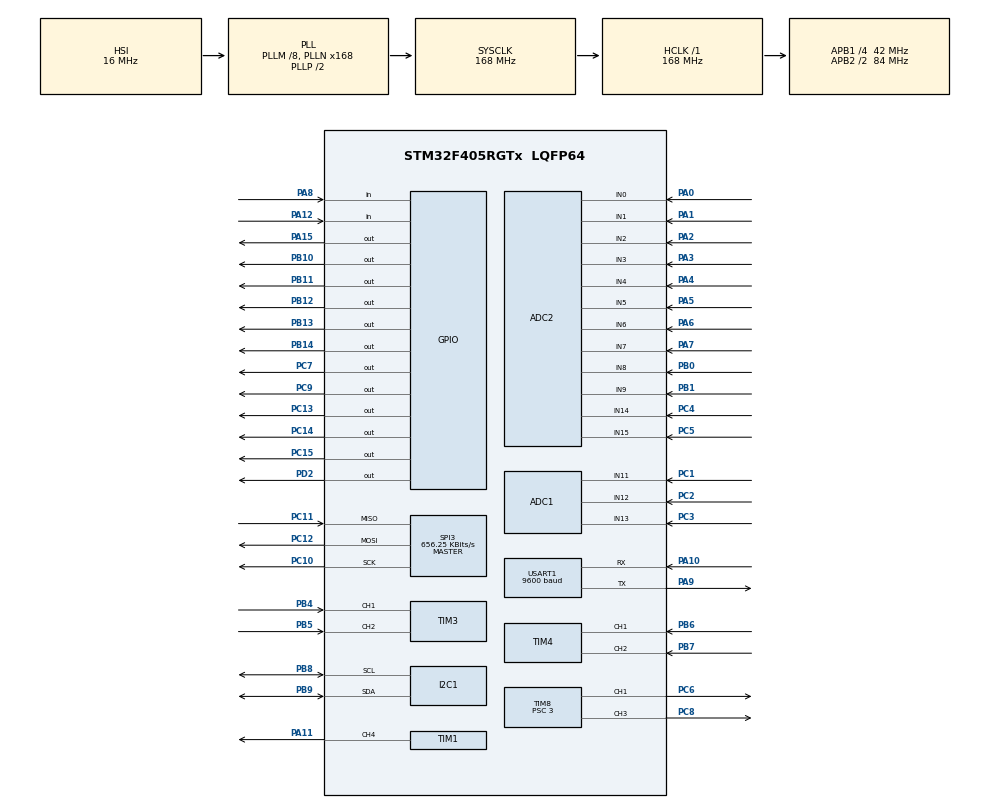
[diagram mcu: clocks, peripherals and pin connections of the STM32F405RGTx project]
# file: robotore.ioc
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ADC1.Channel-0\#ChannelRegularConversion=ADC_CHANNEL_12
ADC1.Channel-1\#ChannelRegularConversion=ADC_CHANNEL_13
ADC1.ClockPrescaler=ADC_CLOCK_SYNC_PCLK_DIV4
ADC1.ContinuousConvMode=ENABLE
ADC1.DMAContinuousRequests=ENABLE
ADC1.InjNumberOfConversion=0
ADC1.NbrOfConversion=2
ADC1.NbrOfConversionFlag=1
ADC1.Rank-0\#ChannelRegularConversion=1
ADC1.Rank-1\#ChannelRegularConversion=2
ADC1.SamplingTime-0\#ChannelRegularConversion=ADC_SAMPLETIME_480CYCLES
ADC1.SamplingTime-1\#ChannelRegularConversion=ADC_SAMPLETIME_480CYCLES
ADC1.ScanConvMode=ENABLE
ADC1.master=1
ADC2.Channel-0\#ChannelRegularConversion=ADC_CHANNEL_0
ADC2.Channel-1\#ChannelRegularConversion=ADC_CHANNEL_1
ADC2.Channel-10\#ChannelRegularConversion=ADC_CHANNEL_14
ADC2.Channel-11\#ChannelRegularConversion=ADC_CHANNEL_15
ADC2.Channel-2\#ChannelRegularConversion=ADC_CHANNEL_2
ADC2.Channel-3\#ChannelRegularConversion=ADC_CHANNEL_3
ADC2.Channel-4\#ChannelRegularConversion=ADC_CHANNEL_4
ADC2.Channel-5\#ChannelRegularConversion=ADC_CHANNEL_5
ADC2.Channel-6\#ChannelRegularConversion=ADC_CHANNEL_6
ADC2.Channel-7\#ChannelRegularConversion=ADC_CHANNEL_7
ADC2.Channel-8\#ChannelRegularConversion=ADC_CHANNEL_8
ADC2.Channel-9\#ChannelRegularConversion=ADC_CHANNEL_9
ADC2.ClockPrescaler=ADC_CLOCK_SYNC_PCLK_DIV4
ADC2.ContinuousConvMode=ENABLE
ADC2.DMAContinuousRequests=ENABLE
ADC2.NbrOfConversion=12
ADC2.NbrOfConversionFlag=1
ADC2.Rank-0\#ChannelRegularConversion=1
ADC2.Rank-1\#ChannelRegularConversion=2
ADC2.Rank-10\#ChannelRegularConversion=11
ADC2.Rank-11\#ChannelRegularConversion=12
ADC2.Rank-2\#ChannelRegularConversion=3
ADC2.Rank-3\#ChannelRegularConversion=4
ADC2.Rank-4\#ChannelRegularConversion=5
ADC2.Rank-5\#ChannelRegularConversion=6
ADC2.Rank-6\#ChannelRegularConversion=7
ADC2.Rank-7\#ChannelRegularConversion=8
ADC2.Rank-8\#ChannelRegularConversion=9
ADC2.Rank-9\#ChannelRegularConversion=10
ADC2.SamplingTime-0\#ChannelRegularConversion=ADC_SAMPLETIME_480CYCLES
ADC2.SamplingTime-1\#ChannelRegularConversion=ADC_SAMPLETIME_480CYCLES
ADC2.SamplingTime-10\#ChannelRegularConversion=ADC_SAMPLETIME_480CYCLES
ADC2.SamplingTime-11\#ChannelRegularConversion=ADC_SAMPLETIME_480CYCLES
ADC2.SamplingTime-2\#ChannelRegularConversion=ADC_SAMPLETIME_480CYCLES
ADC2.SamplingTime-3\#ChannelRegularConversion=ADC_SAMPLETIME_480CYCLES
ADC2.SamplingTime-4\#ChannelRegularConversion=ADC_SAMPLETIME_480CYCLES
ADC2.SamplingTime-5\#ChannelRegularConversion=ADC_SAMPLETIME_480CYCLES
ADC2.SamplingTime-6\#ChannelRegularConversion=ADC_SAMPLETIME_480CYCLES
ADC2.SamplingTime-7\#ChannelRegularConversion=ADC_SAMPLETIME_480CYCLES
ADC2.SamplingTime-8\#ChannelRegularConversion=ADC_SAMPLETIME_480CYCLES
ADC2.SamplingTime-9\#ChannelRegularConversion=ADC_SAMPLETIME_480CYCLES
Dma.ADC1.1.Direction=DMA_PERIPH_TO_MEMORY
Dma.ADC1.1.FIFOMode=DMA_FIFOMODE_DISABLE
Dma.ADC1.1.Instance=DMA2_Stream0
Dma.ADC1.1.MemDataAlignment=DMA_MDATAALIGN_HALFWORD
Dma.ADC1.1.MemInc=DMA_MINC_ENABLE
Dma.ADC1.1.Mode=DMA_CIRCULAR
Dma.ADC1.1.PeriphDataAlignment=DMA_PDATAALIGN_HALFWORD
Dma.ADC1.1.PeriphInc=DMA_PINC_DISABLE
Dma.ADC1.1.Priority=DMA_PRIORITY_LOW
Dma.ADC2.0.Direction=DMA_PERIPH_TO_MEMORY
Dma.ADC2.0.FIFOMode=DMA_FIFOMODE_DISABLE
Dma.ADC2.0.Instance=DMA2_Stream2
Dma.ADC2.0.MemDataAlignment=DMA_MDATAALIGN_HALFWORD
Dma.ADC2.0.MemInc=DMA_MINC_ENABLE
Dma.ADC2.0.Mode=DMA_CIRCULAR
Dma.ADC2.0.PeriphDataAlignment=DMA_PDATAALIGN_HALFWORD
Dma.ADC2.0.PeriphInc=DMA_PINC_DISABLE
Dma.ADC2.0.Priority=DMA_PRIORITY_LOW
Dma.Request0=ADC2
Dma.Request1=ADC1
Mcu.Family=STM32F4
Mcu.Name=STM32F405RGTx
Mcu.Package=LQFP64
NVIC.DMA2_Stream0_IRQn=true\:0\:0\:false\:false\:true\:false\:true
NVIC.DMA2_Stream2_IRQn=true\:0\:0\:false\:false\:true\:false\:true
NVIC.PriorityGroup=NVIC_PRIORITYGROUP_4
NVIC.TIM6_DAC_IRQn=true\:1\:0\:true\:false\:true\:true\:true
NVIC.TIM7_IRQn=true\:0\:0\:false\:false\:true\:true\:true
PA0-WKUP.Signal=ADCx_IN0
PA1.Signal=ADCx_IN1
PA10.Mode=Asynchronous
PA10.Signal=USART1_RX
PA11.Signal=S_TIM1_CH4
PA12.GPIO_PuPd=GPIO_NOPULL
PA12.Signal=GPIO_Input
PA13.Mode=Trace_Asynchronous_SW
PA13.Signal=SYS_JTMS-SWDIO
PA14.Mode=Trace_Asynchronous_SW
PA14.Signal=SYS_JTCK-SWCLK
PA15.Signal=GPIO_Output
PA2.Signal=ADCx_IN2
PA3.Signal=ADCx_IN3
PA4.Signal=ADCx_IN4
PA5.Signal=ADCx_IN5
PA6.Signal=ADCx_IN6
PA7.Signal=ADCx_IN7
PA8.GPIO_PuPd=GPIO_NOPULL
PA8.Signal=GPIO_Input
PA9.Mode=Asynchronous
PA9.Signal=USART1_TX
PB0.Signal=ADCx_IN8
PB1.Signal=ADCx_IN9
PB10.Signal=GPIO_Output
PB11.Signal=GPIO_Output
PB12.Signal=GPIO_Output
PB13.Signal=GPIO_Output
PB14.Signal=GPIO_Output
PB3.Mode=Trace_Asynchronous_SW
PB3.Signal=SYS_JTDO-SWO
PB4.Signal=S_TIM3_CH1
PB5.Signal=S_TIM3_CH2
PB6.Signal=S_TIM4_CH1
PB7.Signal=S_TIM4_CH2
PB8.Mode=I2C
PB8.Signal=I2C1_SCL
PB9.Mode=I2C
PB9.Signal=I2C1_SDA
PC1.Signal=ADCx_IN11
PC10.Mode=Full_Duplex_Master
PC10.Signal=SPI3_SCK
PC11.Mode=Full_Duplex_Master
PC11.Signal=SPI3_MISO
PC12.Mode=Full_Duplex_Master
PC12.Signal=SPI3_MOSI
PC13-ANTI_TAMP.Signal=GPIO_Output
PC14-OSC32_IN.Signal=GPIO_Output
PC15-OSC32_OUT.Signal=GPIO_Output
PC2.Signal=ADCx_IN12
PC3.Signal=ADCx_IN13
PC4.Signal=ADCx_IN14
PC5.Signal=ADCx_IN15
PC6.Signal=S_TIM8_CH1
PC7.Signal=GPIO_Output
PC8.Signal=S_TIM8_CH3
PC9.Signal=GPIO_Output
PD2.Signal=GPIO_Output
PH0-OSC_IN.Mode=HSE-External-Oscillator
PH0-OSC_IN.Signal=RCC_OSC_IN
PH1-OSC_OUT.Mode=HSE-External-Oscillator
PH1-OSC_OUT.Signal=RCC_OSC_OUT
ProjectManager.HeapSize=0x200
ProjectManager.StackSize=0x400
ProjectManager.TargetToolchain=STM32CubeIDE
RCC.48MHZClocksFreq_Value=84000000
RCC.AHBFreq_Value=168000000
RCC.APB1CLKDivider=RCC_HCLK_DIV4
RCC.APB1Freq_Value=42000000
RCC.APB1TimFreq_Value=84000000
RCC.APB2CLKDivider=RCC_HCLK_DIV2
RCC.APB2Freq_Value=84000000
RCC.APB2TimFreq_Value=168000000
RCC.CortexFreq_Value=168000000
RCC.HCLKFreq_Value=168000000
RCC.HSE_VALUE=12500000
RCC.HSI_VALUE=16000000
RCC.LSE_VALUE=32768
RCC.PLLM=8
RCC.PLLN=168
RCC.SYSCLKFreq_VALUE=168000000
RCC.SYSCLKSource=RCC_SYSCLKSOURCE_PLLCLK
RCC.VCOOutputFreq_Value=336000000
SH.ADCx_IN0.0=ADC2_IN0,IN0
SH.ADCx_IN1.0=ADC2_IN1,IN1
SH.ADCx_IN11.0=ADC1_IN11,IN11
SH.ADCx_IN12.0=ADC1_IN12,IN12
SH.ADCx_IN13.0=ADC1_IN13,IN13
SH.ADCx_IN14.0=ADC2_IN14,IN14
SH.ADCx_IN15.0=ADC2_IN15,IN15
SH.ADCx_IN2.0=ADC2_IN2,IN2
SH.ADCx_IN3.0=ADC2_IN3,IN3
SH.ADCx_IN4.0=ADC2_IN4,IN4
SH.ADCx_IN5.0=ADC2_IN5,IN5
SH.ADCx_IN6.0=ADC2_IN6,IN6
SH.ADCx_IN7.0=ADC2_IN7,IN7
SH.ADCx_IN8.0=ADC2_IN8,IN8
SH.ADCx_IN9.0=ADC2_IN9,IN9
SH.S_TIM1_CH4.0=TIM1_CH4,PWM Generation4 CH4
SH.S_TIM3_CH1.0=TIM3_CH1,Encoder_Interface
SH.S_TIM3_CH2.0=TIM3_CH2,Encoder_Interface
SH.S_TIM4_CH1.0=TIM4_CH1,Encoder_Interface
SH.S_TIM4_CH2.0=TIM4_CH2,Encoder_Interface
SH.S_TIM8_CH1.0=TIM8_CH1,PWM Generation1 CH1
SH.S_TIM8_CH3.0=TIM8_CH3,PWM Generation3 CH3
SPI3.BaudRatePrescaler=SPI_BAUDRATEPRESCALER_64
SPI3.CalculateBaudRate=656.25 KBits/s
SPI3.Direction=SPI_DIRECTION_2LINES
SPI3.Mode=SPI_MODE_MASTER
SPI3.VirtualType=VM_MASTER
TIM1.Channel-PWM\ Generation4\ CH4=TIM_CHANNEL_4
TIM1.Period=839
TIM1.Prescaler=0
TIM6.Period=999
TIM6.Prescaler=83
TIM7.Period=99
TIM7.Prescaler=83
TIM8.Channel-PWM\ Generation1\ CH1=TIM_CHANNEL_1
TIM8.Channel-PWM\ Generation3\ CH3=TIM_CHANNEL_3
TIM8.Period=1679
TIM8.Prescaler=3
USART1.BaudRate=9600
USART1.VirtualMode=VM_ASYNC
VP_TIM6_VS_ClockSourceINT.Mode=Enable_Timer
VP_TIM7_VS_ClockSourceINT.Mode=Enable_Timer
board=custom

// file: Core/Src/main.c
/* USER CODE BEGIN Header */
/**
  ******************************************************************************
  * @file           : main.c
  * @brief          : Main program body
  ******************************************************************************
  * @attention
  *
  * <h2><center>&copy; Copyright (c) 2022 STMicroelectronics.
  * All rights reserved.</center></h2>
  *
  * This software component is licensed by ST under BSD 3-Clause license,
  * the "License"; You may not use this file except in compliance with the
  * License. You may obtain a copy of the License at:
  *                        opensource.org/licenses/BSD-3-Clause
  *
  ******************************************************************************
  */
/* USER CODE END Header */
#include "main.h"

/* USER CODE BEGIN Includes */
#include "LED.h"
#include "switch.h"
#include "LineSensor.h"
#include "sideSensor.h"
#include "Encoder.h"
#include "motor.h"
#include "VelocityCtrl.h"
#include "MPU6500.h"
#include "IMU.h"
#include "Logger.h"
#include "AngleCtrl.h"
/* USER CODE END Includes */

/* USER CODE BEGIN PM */

uint16_t cnt,cnt2 = 0;
uint16_t sw,sw2 = 0;
uint16_t mode_selector;
uint16_t flag = 0;
uint16_t soiya = 0;
float enc_cnt;

/* USER CODE END PM */

ADC_HandleTypeDef hadc1;
ADC_HandleTypeDef hadc2;
DMA_HandleTypeDef hdma_adc1;
DMA_HandleTypeDef hdma_adc2;

I2C_HandleTypeDef hi2c1;

SPI_HandleTypeDef hspi3;

TIM_HandleTypeDef htim1;
TIM_HandleTypeDef htim3;
TIM_HandleTypeDef htim4;
TIM_HandleTypeDef htim6;
TIM_HandleTypeDef htim7;
TIM_HandleTypeDef htim8;

UART_HandleTypeDef huart1;

/* USER CODE BEGIN PV */

uint32_t timer, timer1, timer2;

/* USER CODE END PV */

void SystemClock_Config(void);
static void MX_GPIO_Init(void);
static void MX_DMA_Init(void);
static void MX_TIM1_Init(void);
static void MX_TIM3_Init(void);
static void MX_TIM4_Init(void);
static void MX_TIM8_Init(void);
static void MX_ADC1_Init(void);
static void MX_I2C1_Init(void);
static void MX_SPI3_Init(void);
static void MX_USART1_UART_Init(void);
static void MX_TIM6_Init(void);
static void MX_TIM7_Init(void);
static void MX_ADC2_Init(void);
/* USER CODE BEGIN PFP */

#ifdef __GNUC__
	#define PUTCHAR_PROTOTYPE int __io_putchar(int ch)
#else
	#define PUTCHAR_PROTOTYPE int fputc(int ch, FILE *f)
#endif /*__GNUC__*/

PUTCHAR_PROTOTYPE{
	HAL_UART_Transmit(&huart1, (uint8_t*)&ch, 1, 0xFFFF);
	return ch;
}

/* USER CODE END PFP */

/* USER CODE BEGIN 0 */

void HAL_TIM_PeriodElapsedCallback(TIM_HandleTypeDef *htim)
{
   if(htim->Instance == TIM6){//1ms
      timer++;
      timer2++;

      updateEncoderCnt();
      updateIMUValue();
      updateAnalogSensor();

      calculateLineFollowingTermFlip();
      calculateVelocityControlFlip();
      calculateAngleControlFlip();
      lineTraceFlip();
      runningFlip();
      motorCtrlFlip();
      suctionmotorCtrlFlip();
      updateSideSensorStatus();

      checkCourseOut();

      //resetEncoderCnt();
   }

   if(htim->Instance == TIM7){//0.1ms
	   timer1++;

	   storeAnalogSensorBuffer();

   }
}

void init(void)
{
	  initADC();
	  initEncoder();
	  initLog();
	  initGyro();

	  HAL_TIM_Base_Start_IT(&htim6);
	  HAL_TIM_Base_Start_IT(&htim7);

	  initMotor();

	  setLED('R');

	  sensorCalibration();

	  HAL_Delay(1000);

}
/* USER CODE END 0 */

int main(void)
{

  /* MCU Configuration--------------------------------------------------------*/

  /* Reset of all peripherals, Initializes the Flash interface and the Systick. */
  HAL_Init();

  /* Configure the system clock */
  SystemClock_Config();

  /* Initialize all configured peripherals */
  MX_GPIO_Init();
  MX_DMA_Init();
  MX_TIM1_Init();
  MX_TIM3_Init();
  MX_TIM4_Init();
  MX_TIM8_Init();
  MX_ADC1_Init();
  MX_I2C1_Init();
  MX_SPI3_Init();
  MX_USART1_UART_Init();
  MX_TIM6_Init();
  MX_TIM7_Init();
  MX_ADC2_Init();
  /* USER CODE BEGIN 2 */

  init();

  bool running_flag = false;

  /* USER CODE END 2 */

  /* Infinite loop */
  /* USER CODE BEGIN WHILE */
  while (1)
  {
	  if(getSwitchStatus('L') == 1 && sw == 0){     //D5         sw3チャタリング防止
		  timer = 0;
		  sw = 1;
	  }
	  if(getSwitchStatus('L') == 1 && timer > 20 && sw == 1){
		  sw = 2;
	  }
	  if(timer > 40 && sw == 1){
		  sw = 0;
	  }
	  if(getSwitchStatus('L') == 0 && sw == 2){
		  //mode_selector++;
		  soiya++;
		  sw = 0;
	  }

	  if(getSwitchStatus('R') == 1 && sw2 == 0){     //D4         sw2チャタリング防止
	  	  timer = 0;
	  	  sw2 = 1;
	  }
	  if(getSwitchStatus('R') == 1 && timer > 20 && sw2 == 1){
	  	  sw2 = 2;
	  }
	  if(timer > 40 && sw2 == 1){
	  	  sw2 = 0;
	  }
	  if(getSwitchStatus('R') == 0 && sw2 == 2){
	  	  cnt++;
	  	  sw2 = 0;
	  }

	  if(cnt >= 2){
		  cnt = 0;
	  }

	  if(cnt >= 1){
		  HAL_Delay(1000);
		  running_flag = true;
		  timer2 = 0;
		  cnt = 0;
		  //setLED2('Y');
	  }

	  /*
	  if(running_flag == true){
		  //setVelocityRange(0, 0);
		  //startLineTrace();

		  setTargetVelocity(0.7);
		  //startVelocityControl();

		  running();
		  //setMotor(500, 500);
		  //while(1);
	  }*/

	  if(running_flag == false){
		  stopLineTrace();
		  stopVelocityControl();
	  }

	  if(getgoalStatus() == true){//goal判定
		  running_flag = false;
		  cnt = 0;
		  setsuctionMotor(0);
		  //getgoalStatus() = false;
	  }

	  /*if(isTargetDistance(10) == true){
		  cnt2++;
		  clearDistance10mm();
	  }*/

	  if(soiya >= 14){
		  soiya = 0;
	  }

	  switch(soiya){

			  case 0:
				  setLED('W');
				  setLED2('R');
				  //printf("0\r\n");

				  if(running_flag == true){

				  		  setsuctionMotor(400);
				  }

				  break;

			  case 1:
				  setLED('G');
				  setLED2('G');

				  if(running_flag == true){
						  //setVelocityRange(0, 0);
						  //startLineTrace();

					      clearspeedcount();

					      //setVelocityRange(0, 0);
						  setTargetVelocity(0.0);
						  //startVelocityControl();

						  setsuctionMotor(400);

						  HAL_Delay(1500);

						  running();
				  }

				  break;

			  case 2:
				  setLED('Y');
				  setLED2('R');

				  if(running_flag == true){
						  //startLineTrace();

					      clearspeedcount();

					      IMU_average();

					      setRunMode(1);

					      setVelocityRange(1.3, 1.3);

						  setsuctionMotor(400);

						  HAL_Delay(1000);

						  running();
				  }

				  break;

			  case 3:
				  setLED('Y');
				  setLED2('G');

				  if(running_flag == true){
						  //startLineTrace();

						  clearspeedcount();

						  IMU_average();

						  setRunMode(1);
						  setrunmode(1);

						  setVelocityRange(1.5, 1.5);

						  setsuctionMotor(300);

						  HAL_Delay(1000);

						  running();
				  }

				  break;

			  case 4:
				  setLED('C');
				  setLED2('R');

				  if(running_flag == true){
						  //setVelocityRange(0, 0);
						  //startLineTrace();

					      clearspeedcount();

					      setRunMode(2);
					      setrunmode(2);

					      setVelocityRange(1.5, 3.0);
					      setAccDec(6, 2);
					      setStraightRadius(1000); //Do Not Change

						  setsuctionMotor(400);

						  HAL_Delay(1000);

						  running();
				  }

				  break;

			  case 5:
				  setLED('C');
				  setLED2('G');

				  if(running_flag == true){
						  //setVelocityRange(0, 0);
						  //startLineTrace();

						  clearspeedcount();

						  setRunMode(2);
						  setrunmode(2);

						  setVelocityRange(1.8, 5.0);//changeパラメータ
						  setAccDec(7, 3);
						  setStraightRadius(1000); //Do Not Change

						  setsuctionMotor(400);

						  HAL_Delay(1000);

						  running();
				  }

				  break;

			  case 6:
				  setLED('C');
				  setLED2('B');

				  if(running_flag == true){
						  //setVelocityRange(0, 0);
						  //startLineTrace();

						  clearspeedcount();

						  setRunMode(2);
						  setrunmode(2);

						  setVelocityRange(1.8, 5.5);
						  setAccDec(8, 3);
						  setStraightRadius(1000); //Do Not Change

						  setsuctionMotor(400);

						  HAL_Delay(1000);

						  running();
				  }

				  break;

			  case 7:
				  setLED('C');
				  setLED2('W');

				  if(running_flag == true){
						  //setVelocityRange(0, 0);
						  //startLineTrace();

						  clearspeedcount();

						  setRunMode(2);
						  setrunmode(2);

						  setVelocityRange(2.0, 6.0);
						  setAccDec(6, 3);
						  setStraightRadius(1000); //Do Not Change

						  setsuctionMotor(400);

						  HAL_Delay(1000);

						  running();
				  }

				  break;

			  case 8:
				  setLED('C');
				  setLED2('Y');

				  if(running_flag == true){
						  //setVelocityRange(0, 0);
						  //startLineTrace();

						  clearspeedcount();

						  setRunMode(2);
						  setrunmode(2);

						  setVelocityRange(2.0, 6.0);
						  setAccDec(10, 3);
						  setStraightRadius(1000); //Do Not Change

						  setsuctionMotor(400);

						  HAL_Delay(1000);

						  running();
				  }

			  	  break;

			  case 9:
				  setLED('C');
				  setLED2('X');

				  if(running_flag == true){
						  //setVelocityRange(0, 0);
						  //startLineTrace();

						  clearspeedcount();

						  setRunMode(3);
						  setrunmode(2);

						  setVelocityRange(2.0, 6.0);
						  setAccDec(10, 4);
						  setStraightRadius(1000); //Do Not Change

						  setsuctionMotor(400);

						  HAL_Delay(1000);

						  running();
				  }

				  break;

			  case 10:
				  setLED('C');
				  setLED2('V');

				  if(running_flag == true){
						  //startLineTrace();

						  clearspeedcount();

						  setRunMode(2);
						  setrunmode(2);

						  setVelocityRange(2.1, 6.0);
						  setAccDec(6, 2);
						  setStraightRadius(1000); //Do Not Change

						  setsuctionMotor(400);

						  HAL_Delay(1000);

						  running();
				  }

				  break;

			  case 11:
				  setLED('C');
				  setLED2('T');

				  if(running_flag == true){
						  //startLineTrace();

						  clearspeedcount();

						  setRunMode(2);
						  setrunmode(2);

						  setVelocityRange(2.2, 6.0);
						  setAccDec(6, 3);
						  setStraightRadius(1000); //Do Not Change

						  setsuctionMotor(400);

						  HAL_Delay(1000);

						  running();
				  }

				  break;

			  case 12:
				  setLED('C');
				  setLED2('A');

				  if(running_flag == true){
						  //startLineTrace();

						  clearspeedcount();

						  setRunMode(2);
						  setrunmode(2);

						  setVelocityRange(2.3, 7.0);
						  setAccDec(7, 4);
						  setStraightRadius(1000); //Do Not Change

						  setsuctionMotor(400);

						  HAL_Delay(1000);

						  running();
				  }

				  break;

			  case 13:
				  setLED('M');
				  setLED2('A');
				  //printf("6\r\n");

				  if(running_flag == true){
					  loadDistance();
					  loadTheta();
					  loadCross();
					  loadSide();
					  loadDebug();

					  printf("Distance, Theta\r\n");
					  for(uint16_t i = 0; i < getDistanceLogSize(); i++){
						 printf("%f, %f\r\n", getDistanceLog(i), getThetaLog(i));
					  }

					  /*
					  printf("Cross\r\n");
					  for(uint16_t i = 0; i < getCrossLogSize(); i++){
						 printf("%f\r\n", getCrossLog(i));
					  }*/

					  /*
					  printf("Side\r\n");
					  for(uint16_t i = 0; i < getSideLogSize(); i++){
						 printf("%f\r\n", getSideLog(i));
					  }*/

					  /*
					  printf("TargetVelocity, CurrentVelocity\r\n");
					  uint16_t size = getDebugLogSize();
					  for(uint16_t i = 0; i < size; i = i+2){
						 printf("%f, %f\r\n", getDebugLog(i), getDebugLog(i + 1));
					  }*/
					  soiya = 0;

					  printf("9999, 9999\r\n");
				  }

				  break;

			  default:
				  break;
	  }

    /* USER CODE END WHILE */

  }
}

void SystemClock_Config(void)
{
  RCC_OscInitTypeDef RCC_OscInitStruct = {0};
  RCC_ClkInitTypeDef RCC_ClkInitStruct = {0};

  /** Configure the main internal regulator output voltage
  */
  __HAL_RCC_PWR_CLK_ENABLE();
  __HAL_PWR_VOLTAGESCALING_CONFIG(PWR_REGULATOR_VOLTAGE_SCALE1);
  /** Initializes the RCC Oscillators according to the specified parameters
  * in the RCC_OscInitTypeDef structure.
  */
  RCC_OscInitStruct.OscillatorType = RCC_OSCILLATORTYPE_HSI;
  RCC_OscInitStruct.HSIState = RCC_HSI_ON;
  RCC_OscInitStruct.HSICalibrationValue = RCC_HSICALIBRATION_DEFAULT;
  RCC_OscInitStruct.PLL.PLLState = RCC_PLL_ON;
  RCC_OscInitStruct.PLL.PLLSource = RCC_PLLSOURCE_HSI;
  RCC_OscInitStruct.PLL.PLLM = 8;
  RCC_OscInitStruct.PLL.PLLN = 168;
  RCC_OscInitStruct.PLL.PLLP = RCC_PLLP_DIV2;
  RCC_OscInitStruct.PLL.PLLQ = 4;
  if (HAL_RCC_OscConfig(&RCC_OscInitStruct) != HAL_OK)
  {
    Error_Handler();
  }
  /** Initializes the CPU, AHB and APB buses clocks
  */
  RCC_ClkInitStruct.ClockType = RCC_CLOCKTYPE_HCLK|RCC_CLOCKTYPE_SYSCLK
                              |RCC_CLOCKTYPE_PCLK1|RCC_CLOCKTYPE_PCLK2;
  RCC_ClkInitStruct.SYSCLKSource = RCC_SYSCLKSOURCE_PLLCLK;
  RCC_ClkInitStruct.AHBCLKDivider = RCC_SYSCLK_DIV1;
  RCC_ClkInitStruct.APB1CLKDivider = RCC_HCLK_DIV4;
  RCC_ClkInitStruct.APB2CLKDivider = RCC_HCLK_DIV2;

  if (HAL_RCC_ClockConfig(&RCC_ClkInitStruct, FLASH_LATENCY_5) != HAL_OK)
  {
    Error_Handler();
  }
}

static void MX_ADC1_Init(void)
{

  ADC_ChannelConfTypeDef sConfig = {0};

  /** Configure the global features of the ADC (Clock, Resolution, Data Alignment and number of conversion)
  */
  hadc1.Instance = ADC1;
  hadc1.Init.ClockPrescaler = ADC_CLOCK_SYNC_PCLK_DIV4;
  hadc1.Init.Resolution = ADC_RESOLUTION_12B;
  hadc1.Init.ScanConvMode = ENABLE;
  hadc1.Init.ContinuousConvMode = ENABLE;
  hadc1.Init.DiscontinuousConvMode = DISABLE;
  hadc1.Init.ExternalTrigConvEdge = ADC_EXTERNALTRIGCONVEDGE_NONE;
  hadc1.Init.ExternalTrigConv = ADC_SOFTWARE_START;
  hadc1.Init.DataAlign = ADC_DATAALIGN_RIGHT;
  hadc1.Init.NbrOfConversion = 2;
  hadc1.Init.DMAContinuousRequests = ENABLE;
  hadc1.Init.EOCSelection = ADC_EOC_SINGLE_CONV;
  if (HAL_ADC_Init(&hadc1) != HAL_OK)
  {
    Error_Handler();
  }
  /** Configure for the selected ADC regular channel its corresponding rank in the sequencer and its sample time.
  */
  sConfig.Channel = ADC_CHANNEL_12;
  sConfig.Rank = 1;
  sConfig.SamplingTime = ADC_SAMPLETIME_480CYCLES;
  if (HAL_ADC_ConfigChannel(&hadc1, &sConfig) != HAL_OK)
  {
    Error_Handler();
  }
  /** Configure for the selected ADC regular channel its corresponding rank in the sequencer and its sample time.
  */
  sConfig.Channel = ADC_CHANNEL_13;
  sConfig.Rank = 2;
  if (HAL_ADC_ConfigChannel(&hadc1, &sConfig) != HAL_OK)
  {
    Error_Handler();
  }

}

static void MX_ADC2_Init(void)
{

  ADC_ChannelConfTypeDef sConfig = {0};

  /** Configure the global features of the ADC (Clock, Resolution, Data Alignment and number of conversion)
  */
  hadc2.Instance = ADC2;
  hadc2.Init.ClockPrescaler = ADC_CLOCK_SYNC_PCLK_DIV4;
  hadc2.Init.Resolution = ADC_RESOLUTION_12B;
  hadc2.Init.ScanConvMode = ENABLE;
  hadc2.Init.ContinuousConvMode = ENABLE;
  hadc2.Init.DiscontinuousConvMode = DISABLE;
  hadc2.Init.ExternalTrigConvEdge = ADC_EXTERNALTRIGCONVEDGE_NONE;
  hadc2.Init.ExternalTrigConv = ADC_SOFTWARE_START;
  hadc2.Init.DataAlign = ADC_DATAALIGN_RIGHT;
  hadc2.Init.NbrOfConversion = 12;
  hadc2.Init.DMAContinuousRequests = ENABLE;
  hadc2.Init.EOCSelection = ADC_EOC_SINGLE_CONV;
  if (HAL_ADC_Init(&hadc2) != HAL_OK)
  {
    Error_Handler();
  }
  /** Configure for the selected ADC regular channel its corresponding rank in the sequencer and its sample time.
  */
  sConfig.Channel = ADC_CHANNEL_0;
  sConfig.Rank = 1;
  sConfig.SamplingTime = ADC_SAMPLETIME_480CYCLES;
  if (HAL_ADC_ConfigChannel(&hadc2, &sConfig) != HAL_OK)
  {
    Error_Handler();
  }
  /** Configure for the selected ADC regular channel its corresponding rank in the sequencer and its sample time.
  */
  sConfig.Channel = ADC_CHANNEL_1;
  sConfig.Rank = 2;
  if (HAL_ADC_ConfigChannel(&hadc2, &sConfig) != HAL_OK)
  {
    Error_Handler();
  }
  /** Configure for the selected ADC regular channel its corresponding rank in the sequencer and its sample time.
  */
  sConfig.Channel = ADC_CHANNEL_2;
  sConfig.Rank = 3;
  if (HAL_ADC_ConfigChannel(&hadc2, &sConfig) != HAL_OK)
  {
    Error_Handler();
  }
  /** Configure for the selected ADC regular channel its corresponding rank in the sequencer and its sample time.
  */
  sConfig.Channel = ADC_CHANNEL_3;
  sConfig.Rank = 4;
  if (HAL_ADC_ConfigChannel(&hadc2, &sConfig) != HAL_OK)
  {
    Error_Handler();
  }
  /** Configure for the selected ADC regular channel its corresponding rank in the sequencer and its sample time.
  */
  sConfig.Channel = ADC_CHANNEL_4;
  sConfig.Rank = 5;
  if (HAL_ADC_ConfigChannel(&hadc2, &sConfig) != HAL_OK)
  {
    Error_Handler();
  }
  /** Configure for the selected ADC regular channel its corresponding rank in the sequencer and its sample time.
  */
  sConfig.Channel = ADC_CHANNEL_5;
  sConfig.Rank = 6;
  if (HAL_ADC_ConfigChannel(&hadc2, &sConfig) != HAL_OK)
  {
    Error_Handler();
  }
  /** Configure for the selected ADC regular channel its corresponding rank in the sequencer and its sample time.
  */
  sConfig.Channel = ADC_CHANNEL_6;
  sConfig.Rank = 7;
  if (HAL_ADC_ConfigChannel(&hadc2, &sConfig) != HAL_OK)
  {
    Error_Handler();
  }
  /** Configure for the selected ADC regular channel its corresponding rank in the sequencer and its sample time.
  */
  sConfig.Channel = ADC_CHANNEL_7;
  sConfig.Rank = 8;
  if (HAL_ADC_ConfigChannel(&hadc2, &sConfig) != HAL_OK)
  {
    Error_Handler();
  }
  /** Configure for the selected ADC regular channel its corresponding rank in the sequencer and its sample time.
  */
  sConfig.Channel = ADC_CHANNEL_8;
  sConfig.Rank = 9;
  if (HAL_ADC_ConfigChannel(&hadc2, &sConfig) != HAL_OK)
  {
    Error_Handler();
  }
  /** Configure for the selected ADC regular channel its corresponding rank in the sequencer and its sample time.
  */
  sConfig.Channel = ADC_CHANNEL_9;
  sConfig.Rank = 10;
  if (HAL_ADC_ConfigChannel(&hadc2, &sConfig) != HAL_OK)
  {
    Error_Handler();
  }
  /** Configure for the selected ADC regular channel its corresponding rank in the sequencer and its sample time.
  */
  sConfig.Channel = ADC_CHANNEL_14;
  sConfig.Rank = 11;
  if (HAL_ADC_ConfigChannel(&hadc2, &sConfig) != HAL_OK)
  {
    Error_Handler();
  }
  /** Configure for the selected ADC regular channel its corresponding rank in the sequencer and its sample time.
  */
  sConfig.Channel = ADC_CHANNEL_15;
  sConfig.Rank = 12;
  if (HAL_ADC_ConfigChannel(&hadc2, &sConfig) != HAL_OK)
  {
    Error_Handler();
  }

}

static void MX_I2C1_Init(void)
{

  hi2c1.Instance = I2C1;
  hi2c1.Init.ClockSpeed = 100000;
  hi2c1.Init.DutyCycle = I2C_DUTYCYCLE_2;
  hi2c1.Init.OwnAddress1 = 0;
  hi2c1.Init.AddressingMode = I2C_ADDRESSINGMODE_7BIT;
  hi2c1.Init.DualAddressMode = I2C_DUALADDRESS_DISABLE;
  hi2c1.Init.OwnAddress2 = 0;
  hi2c1.Init.GeneralCallMode = I2C_GENERALCALL_DISABLE;
  hi2c1.Init.NoStretchMode = I2C_NOSTRETCH_DISABLE;
  if (HAL_I2C_Init(&hi2c1) != HAL_OK)
  {
    Error_Handler();
  }

}

static void MX_SPI3_Init(void)
{

  /* SPI3 parameter configuration*/
  hspi3.Instance = SPI3;
  hspi3.Init.Mode = SPI_MODE_MASTER;
  hspi3.Init.Direction = SPI_DIRECTION_2LINES;
  hspi3.Init.DataSize = SPI_DATASIZE_8BIT;
  hspi3.Init.CLKPolarity = SPI_POLARITY_LOW;
  hspi3.Init.CLKPhase = SPI_PHASE_1EDGE;
  hspi3.Init.NSS = SPI_NSS_SOFT;
  hspi3.Init.BaudRatePrescaler = SPI_BAUDRATEPRESCALER_64;
  hspi3.Init.FirstBit = SPI_FIRSTBIT_MSB;
  hspi3.Init.TIMode = SPI_TIMODE_DISABLE;
  hspi3.Init.CRCCalculation = SPI_CRCCALCULATION_DISABLE;
  hspi3.Init.CRCPolynomial = 10;
  if (HAL_SPI_Init(&hspi3) != HAL_OK)
  {
    Error_Handler();
  }

}

static void MX_TIM1_Init(void)
{

  TIM_MasterConfigTypeDef sMasterConfig = {0};
  TIM_OC_InitTypeDef sConfigOC = {0};
  TIM_BreakDeadTimeConfigTypeDef sBreakDeadTimeConfig = {0};

  htim1.Instance = TIM1;
  htim1.Init.Prescaler = 0;
  htim1.Init.CounterMode = TIM_COUNTERMODE_UP;
  htim1.Init.Period = 839;
  htim1.Init.ClockDivision = TIM_CLOCKDIVISION_DIV1;
  htim1.Init.RepetitionCounter = 0;
  htim1.Init.AutoReloadPreload = TIM_AUTORELOAD_PRELOAD_DISABLE;
  if (HAL_TIM_PWM_Init(&htim1) != HAL_OK)
  {
    Error_Handler();
  }
  sMasterConfig.MasterOutputTrigger = TIM_TRGO_RESET;
  sMasterConfig.MasterSlaveMode = TIM_MASTERSLAVEMODE_DISABLE;
  if (HAL_TIMEx_MasterConfigSynchronization(&htim1, &sMasterConfig) != HAL_OK)
  {
    Error_Handler();
  }
  sConfigOC.OCMode = TIM_OCMODE_PWM1;
  sConfigOC.Pulse = 0;
  sConfigOC.OCPolarity = TIM_OCPOLARITY_HIGH;
  sConfigOC.OCFastMode = TIM_OCFAST_DISABLE;
  sConfigOC.OCIdleState = TIM_OCIDLESTATE_RESET;
  sConfigOC.OCNIdleState = TIM_OCNIDLESTATE_RESET;
  if (HAL_TIM_PWM_ConfigChannel(&htim1, &sConfigOC, TIM_CHANNEL_4) != HAL_OK)
  {
    Error_Handler();
  }
  sBreakDeadTimeConfig.OffStateRunMode = TIM_OSSR_DISABLE;
  sBreakDeadTimeConfig.OffStateIDLEMode = TIM_OSSI_DISABLE;
  sBreakDeadTimeConfig.LockLevel = TIM_LOCKLEVEL_OFF;
  sBreakDeadTimeConfig.DeadTime = 0;
  sBreakDeadTimeConfig.BreakState = TIM_BREAK_DISABLE;
  sBreakDeadTimeConfig.BreakPolarity = TIM_BREAKPOLARITY_HIGH;
  sBreakDeadTimeConfig.AutomaticOutput = TIM_AUTOMATICOUTPUT_DISABLE;
  if (HAL_TIMEx_ConfigBreakDeadTime(&htim1, &sBreakDeadTimeConfig) != HAL_OK)
  {
    Error_Handler();
  }
  HAL_TIM_MspPostInit(&htim1);

}

static void MX_TIM3_Init(void)
{

  TIM_Encoder_InitTypeDef sConfig = {0};
  TIM_MasterConfigTypeDef sMasterConfig = {0};

  htim3.Instance = TIM3;
  htim3.Init.Prescaler = 0;
  htim3.Init.CounterMode = TIM_COUNTERMODE_UP;
  htim3.Init.Period = 65535;
  htim3.Init.ClockDivision = TIM_CLOCKDIVISION_DIV1;
  htim3.Init.AutoReloadPreload = TIM_AUTORELOAD_PRELOAD_DISABLE;
  sConfig.EncoderMode = TIM_ENCODERMODE_TI1;
  sConfig.IC1Polarity = TIM_ICPOLARITY_RISING;
  sConfig.IC1Selection = TIM_ICSELECTION_DIRECTTI;
  sConfig.IC1Prescaler = TIM_ICPSC_DIV1;
  sConfig.IC1Filter = 0;
  sConfig.IC2Polarity = TIM_ICPOLARITY_RISING;
  sConfig.IC2Selection = TIM_ICSELECTION_DIRECTTI;
  sConfig.IC2Prescaler = TIM_ICPSC_DIV1;
  sConfig.IC2Filter = 0;
  if (HAL_TIM_Encoder_Init(&htim3, &sConfig) != HAL_OK)
  {
    Error_Handler();
  }
  sMasterConfig.MasterOutputTrigger = TIM_TRGO_RESET;
  sMasterConfig.MasterSlaveMode = TIM_MASTERSLAVEMODE_DISABLE;
  if (HAL_TIMEx_MasterConfigSynchronization(&htim3, &sMasterConfig) != HAL_OK)
  {
    Error_Handler();
  }

}

static void MX_TIM4_Init(void)
{

  TIM_Encoder_InitTypeDef sConfig = {0};
  TIM_MasterConfigTypeDef sMasterConfig = {0};

  htim4.Instance = TIM4;
  htim4.Init.Prescaler = 0;
  htim4.Init.CounterMode = TIM_COUNTERMODE_UP;
  htim4.Init.Period = 65535;
  htim4.Init.ClockDivision = TIM_CLOCKDIVISION_DIV1;
  htim4.Init.AutoReloadPreload = TIM_AUTORELOAD_PRELOAD_DISABLE;
  sConfig.EncoderMode = TIM_ENCODERMODE_TI1;
  sConfig.IC1Polarity = TIM_ICPOLARITY_RISING;
  sConfig.IC1Selection = TIM_ICSELECTION_DIRECTTI;
  sConfig.IC1Prescaler = TIM_ICPSC_DIV1;
  sConfig.IC1Filter = 0;
  sConfig.IC2Polarity = TIM_ICPOLARITY_RISING;
  sConfig.IC2Selection = TIM_ICSELECTION_DIRECTTI;
  sConfig.IC2Prescaler = TIM_ICPSC_DIV1;
  sConfig.IC2Filter = 0;
  if (HAL_TIM_Encoder_Init(&htim4, &sConfig) != HAL_OK)
  {
    Error_Handler();
  }
  sMasterConfig.MasterOutputTrigger = TIM_TRGO_RESET;
  sMasterConfig.MasterSlaveMode = TIM_MASTERSLAVEMODE_DISABLE;
  if (HAL_TIMEx_MasterConfigSynchronization(&htim4, &sMasterConfig) != HAL_OK)
  {
    Error_Handler();
  }

}

static void MX_TIM6_Init(void)
{

  TIM_MasterConfigTypeDef sMasterConfig = {0};

  htim6.Instance = TIM6;
  htim6.Init.Prescaler = 83;
  htim6.Init.CounterMode = TIM_COUNTERMODE_UP;
  htim6.Init.Period = 999;
  htim6.Init.AutoReloadPreload = TIM_AUTORELOAD_PRELOAD_DISABLE;
  if (HAL_TIM_Base_Init(&htim6) != HAL_OK)
  {
    Error_Handler();
  }
  sMasterConfig.MasterOutputTrigger = TIM_TRGO_RESET;
  sMasterConfig.MasterSlaveMode = TIM_MASTERSLAVEMODE_DISABLE;
  if (HAL_TIMEx_MasterConfigSynchronization(&htim6, &sMasterConfig) != HAL_OK)
  {
    Error_Handler();
  }

}

static void MX_TIM7_Init(void)
{

  TIM_MasterConfigTypeDef sMasterConfig = {0};

  htim7.Instance = TIM7;
  htim7.Init.Prescaler = 83;
  htim7.Init.CounterMode = TIM_COUNTERMODE_UP;
  htim7.Init.Period = 99;
  htim7.Init.AutoReloadPreload = TIM_AUTORELOAD_PRELOAD_DISABLE;
  if (HAL_TIM_Base_Init(&htim7) != HAL_OK)
  {
    Error_Handler();
  }
  sMasterConfig.MasterOutputTrigger = TIM_TRGO_RESET;
  sMasterConfig.MasterSlaveMode = TIM_MASTERSLAVEMODE_DISABLE;
  if (HAL_TIMEx_MasterConfigSynchronization(&htim7, &sMasterConfig) != HAL_OK)
  {
    Error_Handler();
  }

}

static void MX_TIM8_Init(void)
{

  TIM_MasterConfigTypeDef sMasterConfig = {0};
  TIM_OC_InitTypeDef sConfigOC = {0};
  TIM_BreakDeadTimeConfigTypeDef sBreakDeadTimeConfig = {0};

  htim8.Instance = TIM8;
  htim8.Init.Prescaler = 3;
  htim8.Init.CounterMode = TIM_COUNTERMODE_UP;
  htim8.Init.Period = 1679;
  htim8.Init.ClockDivision = TIM_CLOCKDIVISION_DIV1;
  htim8.Init.RepetitionCounter = 0;
  htim8.Init.AutoReloadPreload = TIM_AUTORELOAD_PRELOAD_DISABLE;
  if (HAL_TIM_PWM_Init(&htim8) != HAL_OK)
  {
    Error_Handler();
  }
  sMasterConfig.MasterOutputTrigger = TIM_TRGO_RESET;
  sMasterConfig.MasterSlaveMode = TIM_MASTERSLAVEMODE_DISABLE;
  if (HAL_TIMEx_MasterConfigSynchronization(&htim8, &sMasterConfig) != HAL_OK)
  {
    Error_Handler();
  }
  sConfigOC.OCMode = TIM_OCMODE_PWM1;
  sConfigOC.Pulse = 0;
  sConfigOC.OCPolarity = TIM_OCPOLARITY_HIGH;
  sConfigOC.OCNPolarity = TIM_OCNPOLARITY_HIGH;
  sConfigOC.OCFastMode = TIM_OCFAST_DISABLE;
  sConfigOC.OCIdleState = TIM_OCIDLESTATE_RESET;
  sConfigOC.OCNIdleState = TIM_OCNIDLESTATE_RESET;
  if (HAL_TIM_PWM_ConfigChannel(&htim8, &sConfigOC, TIM_CHANNEL_1) != HAL_OK)
  {
    Error_Handler();
  }
  if (HAL_TIM_PWM_ConfigChannel(&htim8, &sConfigOC, TIM_CHANNEL_3) != HAL_OK)
  {
    Error_Handler();
  }
  sBreakDeadTimeConfig.OffStateRunMode = TIM_OSSR_DISABLE;
  sBreakDeadTimeConfig.OffStateIDLEMode = TIM_OSSI_DISABLE;
  sBreakDeadTimeConfig.LockLevel = TIM_LOCKLEVEL_OFF;
  sBreakDeadTimeConfig.DeadTime = 0;
  sBreakDeadTimeConfig.BreakState = TIM_BREAK_DISABLE;
  sBreakDeadTimeConfig.BreakPolarity = TIM_BREAKPOLARITY_HIGH;
  sBreakDeadTimeConfig.AutomaticOutput = TIM_AUTOMATICOUTPUT_DISABLE;
  if (HAL_TIMEx_ConfigBreakDeadTime(&htim8, &sBreakDeadTimeConfig) != HAL_OK)
  {
    Error_Handler();
  }
  HAL_TIM_MspPostInit(&htim8);

}

static void MX_USART1_UART_Init(void)
{

  huart1.Instance = USART1;
  huart1.Init.BaudRate = 115200;
  huart1.Init.WordLength = UART_WORDLENGTH_8B;
  huart1.Init.StopBits = UART_STOPBITS_1;
  huart1.Init.Parity = UART_PARITY_NONE;
  huart1.Init.Mode = UART_MODE_TX_RX;
  huart1.Init.HwFlowCtl = UART_HWCONTROL_NONE;
  huart1.Init.OverSampling = UART_OVERSAMPLING_16;
  if (HAL_UART_Init(&huart1) != HAL_OK)
  {
    Error_Handler();
  }

}

static void MX_DMA_Init(void)
{

  /* DMA controller clock enable */
  __HAL_RCC_DMA2_CLK_ENABLE();

  /* DMA interrupt init */
  /* DMA2_Stream0_IRQn interrupt configuration */
  HAL_NVIC_SetPriority(DMA2_Stream0_IRQn, 0, 0);
  HAL_NVIC_EnableIRQ(DMA2_Stream0_IRQn);
  /* DMA2_Stream2_IRQn interrupt configuration */
  HAL_NVIC_SetPriority(DMA2_Stream2_IRQn, 0, 0);
  HAL_NVIC_EnableIRQ(DMA2_Stream2_IRQn);

}

static void MX_GPIO_Init(void)
{
  GPIO_InitTypeDef GPIO_InitStruct = {0};

  /* GPIO Ports Clock Enable */
  __HAL_RCC_GPIOC_CLK_ENABLE();
  __HAL_RCC_GPIOH_CLK_ENABLE();
  __HAL_RCC_GPIOA_CLK_ENABLE();
  __HAL_RCC_GPIOB_CLK_ENABLE();
  __HAL_RCC_GPIOD_CLK_ENABLE();

  /*Configure GPIO pin Output Level */
  HAL_GPIO_WritePin(GPIOC, GPIO_PIN_13|GPIO_PIN_14|GPIO_PIN_15|GPIO_PIN_7
                          |GPIO_PIN_9, GPIO_PIN_RESET);

  /*Configure GPIO pin Output Level */
  HAL_GPIO_WritePin(GPIOB, GPIO_PIN_10|GPIO_PIN_11|GPIO_PIN_12|GPIO_PIN_13
                          |GPIO_PIN_14, GPIO_PIN_RESET);

  /*Configure GPIO pin Output Level */
  HAL_GPIO_WritePin(GPIOA, GPIO_PIN_15, GPIO_PIN_RESET);

  /*Configure GPIO pin Output Level */
  HAL_GPIO_WritePin(GPIOD, GPIO_PIN_2, GPIO_PIN_RESET);

  /*Configure GPIO pins : PC13 PC14 PC15 PC7
                           PC9 */
  GPIO_InitStruct.Pin = GPIO_PIN_13|GPIO_PIN_14|GPIO_PIN_15|GPIO_PIN_7
                          |GPIO_PIN_9;
  GPIO_InitStruct.Mode = GPIO_MODE_OUTPUT_PP;
  GPIO_InitStruct.Pull = GPIO_NOPULL;
  GPIO_InitStruct.Speed = GPIO_SPEED_FREQ_LOW;
  HAL_GPIO_Init(GPIOC, &GPIO_InitStruct);

  /*Configure GPIO pins : PB10 PB11 PB12 PB13
                           PB14 */
  GPIO_InitStruct.Pin = GPIO_PIN_10|GPIO_PIN_11|GPIO_PIN_12|GPIO_PIN_13
                          |GPIO_PIN_14;
  GPIO_InitStruct.Mode = GPIO_MODE_OUTPUT_PP;
  GPIO_InitStruct.Pull = GPIO_NOPULL;
  GPIO_InitStruct.Speed = GPIO_SPEED_FREQ_LOW;
  HAL_GPIO_Init(GPIOB, &GPIO_InitStruct);

  /*Configure GPIO pins : PA8 PA12 */
  GPIO_InitStruct.Pin = GPIO_PIN_8|GPIO_PIN_12;
  GPIO_InitStruct.Mode = GPIO_MODE_INPUT;
  GPIO_InitStruct.Pull = GPIO_NOPULL;
  HAL_GPIO_Init(GPIOA, &GPIO_InitStruct);

  /*Configure GPIO pin : PA15 */
  GPIO_InitStruct.Pin = GPIO_PIN_15;
  GPIO_InitStruct.Mode = GPIO_MODE_OUTPUT_PP;
  GPIO_InitStruct.Pull = GPIO_NOPULL;
  GPIO_InitStruct.Speed = GPIO_SPEED_FREQ_LOW;
  HAL_GPIO_Init(GPIOA, &GPIO_InitStruct);

  /*Configure GPIO pin : PD2 */
  GPIO_InitStruct.Pin = GPIO_PIN_2;
  GPIO_InitStruct.Mode = GPIO_MODE_OUTPUT_PP;
  GPIO_InitStruct.Pull = GPIO_NOPULL;
  GPIO_InitStruct.Speed = GPIO_SPEED_FREQ_LOW;
  HAL_GPIO_Init(GPIOD, &GPIO_InitStruct);

}

void Error_Handler(void)
{
  __disable_irq();
  while (1)
  {
  }
}

/************************ (C) COPYRIGHT STMicroelectronics *****END OF FILE****/
